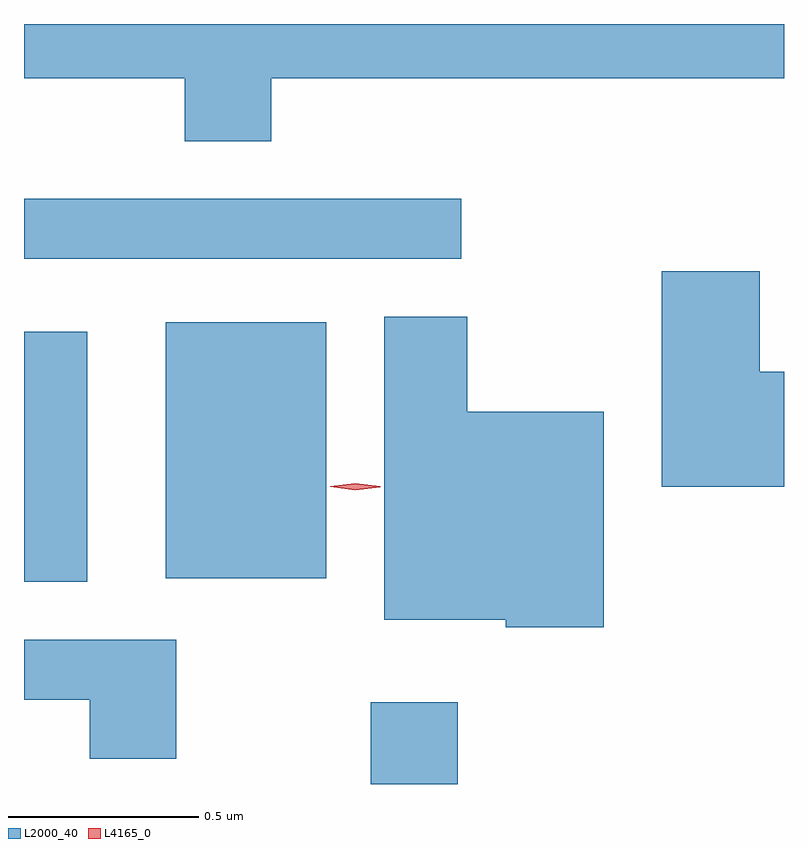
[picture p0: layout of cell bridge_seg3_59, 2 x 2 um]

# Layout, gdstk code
import gdstk
lib = gdstk.Library(unit=1e-6, precision=1e-09)
def R(c, l, rs):  # rectangles x0, y0, x1, y1
    for r in rs: c.add(gdstk.rectangle(r[:2], r[2:], *l))
def P(c, l, *ps):  # polygons
    for p in ps: c.add(gdstk.Polygon(p, *l))
L2000_40 = (2000, 40)
L4165_0 = (4165, 0)

bridge_seg3_59 = lib.new_cell('bridge_seg3_59')
R(bridge_seg3_59, L2000_40, [(1209.061,1159.679,1209.289,1159.894), (1208.148,1160.211,1208.314,1160.869), (1208.521,1160.221,1208.944,1160.894), (1208.148,1161.061,1209.298,1161.219)])
P(bridge_seg3_59, L2000_40, [(1208.799,1161.536),(1210.148,1161.536),(1210.148,1161.679),(1208.148,1161.679),(1208.148,1161.536),(1208.571,1161.536),(1208.571,1161.371),(1208.799,1161.371)],
  [(1210.148,1160.764),(1210.084,1160.764),(1210.084,1161.029),(1209.826,1161.029),(1209.826,1160.461),(1210.148,1160.461)],
  [(1209.674,1160.659),(1209.314,1160.659),(1209.314,1160.909),(1209.096,1160.909),(1209.096,1160.111),(1209.416,1160.111),(1209.416,1160.091),(1209.674,1160.091)],
  [(1208.549,1160.059),(1208.148,1160.059),(1208.148,1159.901),(1208.321,1159.901),(1208.321,1159.746),(1208.549,1159.746)])
P(bridge_seg3_59, L4165_0, [(1209.02,1160.452),(1208.954,1160.461),(1208.954,1160.462),(1208.954,1160.462),(1209.02,1160.471),(1209.086,1160.462),(1209.086,1160.461),(1209.086,1160.46)])

lib.write_gds('bridge_seg3_59.gds')
